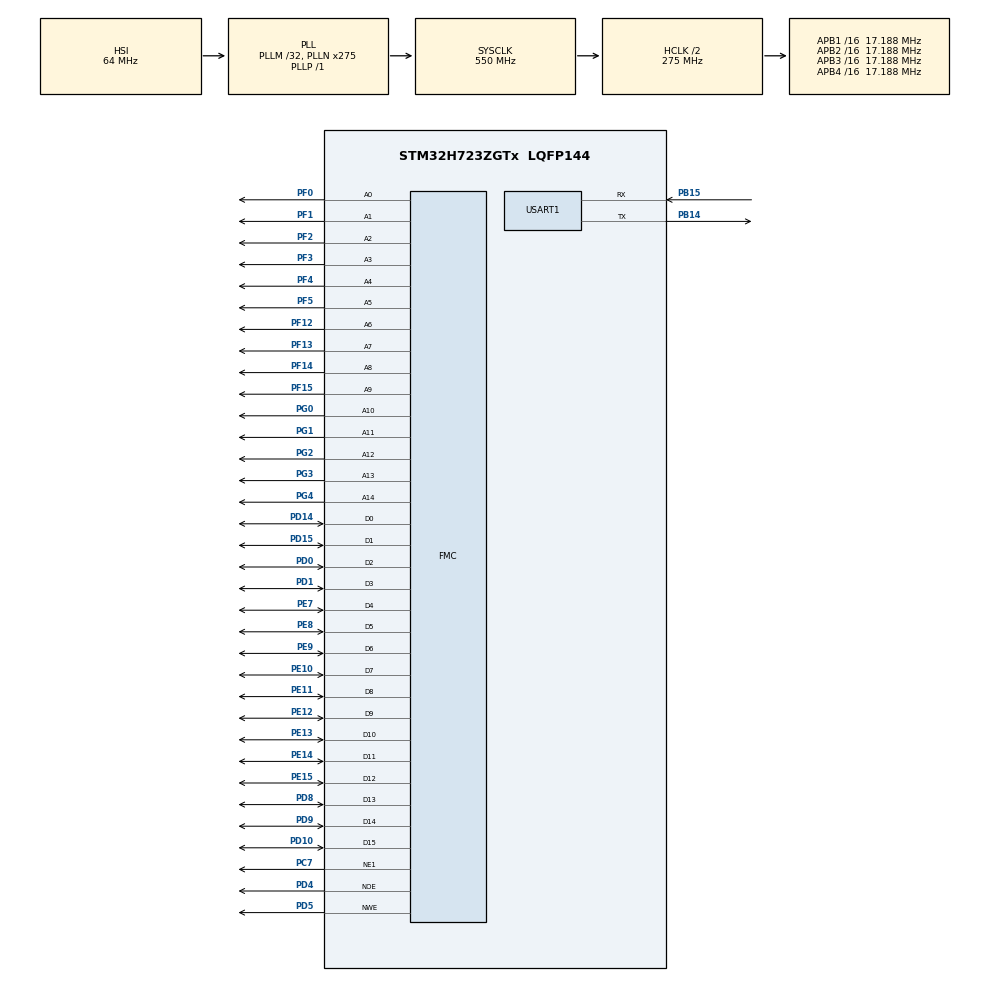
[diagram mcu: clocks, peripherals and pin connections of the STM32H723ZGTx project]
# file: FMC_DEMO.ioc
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CORTEX_M7.AccessPermission_Spec=MPU_REGION_FULL_ACCESS
CORTEX_M7.BaseAddress_Spec=0x60000000
CORTEX_M7.CPU_DCache=Enabled
CORTEX_M7.CPU_ICache=Enabled
CORTEX_M7.MPU_Control=MPU_HFNMI_PRIVDEF
CORTEX_M7.Size_Spec=MPU_REGION_SIZE_256MB
CORTEX_M7.default_mode_Activation=1
FMC.AddressSetupTime1=4
FMC.BusTurnAroundDuration1=2
FMC.DataSetupTime1=3
FMC.WriteFifo1=FMC_WRITE_FIFO_DISABLE
FMC.WriteOperation1=FMC_WRITE_OPERATION_ENABLE
Mcu.Family=STM32H7
Mcu.Name=STM32H723ZGTx
Mcu.Package=LQFP144
NVIC.PriorityGroup=NVIC_PRIORITYGROUP_4
NVIC.USART1_IRQn=true\:0\:0\:false\:false\:true\:true\:true\:true
PB14.Mode=Asynchronous
PB14.Signal=USART1_TX
PB15.Mode=Asynchronous
PB15.Signal=USART1_RX
PC7.Mode=NorPsramChipSelect1_1
PC7.Signal=FMC_NE1
PD0.Signal=FMC_D2_DA2
PD1.Signal=FMC_D3_DA3
PD10.Signal=FMC_D15_DA15
PD14.Signal=FMC_D0_DA0
PD15.Signal=FMC_D1_DA1
PD4.Signal=FMC_NOE
PD5.Signal=FMC_NWE
PD8.Signal=FMC_D13_DA13
PD9.Signal=FMC_D14_DA14
PE10.Signal=FMC_D7_DA7
PE11.Signal=FMC_D8_DA8
PE12.Signal=FMC_D9_DA9
PE13.Signal=FMC_D10_DA10
PE14.Signal=FMC_D11_DA11
PE15.Signal=FMC_D12_DA12
PE7.Signal=FMC_D4_DA4
PE8.Signal=FMC_D5_DA5
PE9.Signal=FMC_D6_DA6
PF0.Signal=FMC_A0
PF1.Signal=FMC_A1
PF12.Signal=FMC_A6
PF13.Signal=FMC_A7
PF14.Signal=FMC_A8
PF15.Signal=FMC_A9
PF2.Signal=FMC_A2
PF3.Signal=FMC_A3
PF4.Signal=FMC_A4
PF5.Signal=FMC_A5
PG0.Signal=FMC_A10
PG1.Signal=FMC_A11
PG2.Signal=FMC_A12
PG3.Signal=FMC_A13
PG4.Signal=FMC_A14_BA0
ProjectManager.HeapSize=0x200
ProjectManager.StackSize=0x400
ProjectManager.TargetToolchain=MDK-ARM V5.32
RCC.ADCFreq_Value=129000000
RCC.APB1Freq_Value=17187500
RCC.APB2Freq_Value=17187500
RCC.APB3Freq_Value=17187500
RCC.APB4Freq_Value=17187500
RCC.CortexFreq_Value=68750000
RCC.Cortex_Div=SYSTICK_CLKSOURCE_HCLK_DIV8
RCC.D1PPRE=RCC_APB3_DIV16
RCC.D2PPRE1=RCC_APB1_DIV16
RCC.D2PPRE2=RCC_APB2_DIV16
RCC.D3PPRE=RCC_APB4_DIV16
RCC.DIVN1=275
RCC.DIVP1=1
RCC.DIVQ1=5
RCC.FMCCLockSelection=RCC_FMCCLKSOURCE_PLL
RCC.HCLKFreq_Value=275000000
RCC.HPRE=RCC_HCLK_DIV2
RCC.PLLFRACN=0
RCC.SYSCLKFreq_VALUE=550000000
RCC.SYSCLKSource=RCC_SYSCLKSOURCE_PLLCLK
RCC.USBFreq_Value=110000000
SH.FMC_A0.0=FMC_A0,15b-a1
SH.FMC_A1.0=FMC_A1,15b-a1
SH.FMC_A10.0=FMC_A10,15b-a1
SH.FMC_A11.0=FMC_A11,15b-a1
SH.FMC_A12.0=FMC_A12,15b-a1
SH.FMC_A13.0=FMC_A13,15b-a1
SH.FMC_A14_BA0.0=FMC_A14,15b-a1
SH.FMC_A2.0=FMC_A2,15b-a1
SH.FMC_A3.0=FMC_A3,15b-a1
SH.FMC_A4.0=FMC_A4,15b-a1
SH.FMC_A5.0=FMC_A5,15b-a1
SH.FMC_A6.0=FMC_A6,15b-a1
SH.FMC_A7.0=FMC_A7,15b-a1
SH.FMC_A8.0=FMC_A8,15b-a1
SH.FMC_A9.0=FMC_A9,15b-a1
SH.FMC_D0_DA0.0=FMC_D0,16b-d1
SH.FMC_D10_DA10.0=FMC_D10,16b-d1
SH.FMC_D11_DA11.0=FMC_D11,16b-d1
SH.FMC_D12_DA12.0=FMC_D12,16b-d1
SH.FMC_D13_DA13.0=FMC_D13,16b-d1
SH.FMC_D14_DA14.0=FMC_D14,16b-d1
SH.FMC_D15_DA15.0=FMC_D15,16b-d1
SH.FMC_D1_DA1.0=FMC_D1,16b-d1
SH.FMC_D2_DA2.0=FMC_D2,16b-d1
SH.FMC_D3_DA3.0=FMC_D3,16b-d1
SH.FMC_D4_DA4.0=FMC_D4,16b-d1
SH.FMC_D5_DA5.0=FMC_D5,16b-d1
SH.FMC_D6_DA6.0=FMC_D6,16b-d1
SH.FMC_D7_DA7.0=FMC_D7,16b-d1
SH.FMC_D8_DA8.0=FMC_D8,16b-d1
SH.FMC_D9_DA9.0=FMC_D9,16b-d1
SH.FMC_NOE.0=FMC_NOE,Sram1
SH.FMC_NWE.0=FMC_NWE,Sram1
USART1.VirtualMode-Asynchronous=VM_ASYNC
VP_MEMORYMAP_VS_MEMORYMAP.Mode=CurAppReg
board=custom

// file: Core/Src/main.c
/* USER CODE BEGIN Header */
/**
  ******************************************************************************
  * @file           : main.c
  * @brief          : Main program body
  ******************************************************************************
  * @attention
  *
  * Copyright (c) 2026 STMicroelectronics.
  * All rights reserved.
  *
  * This software is licensed under terms that can be found in the LICENSE file
  * in the root directory of this software component.
  * If no LICENSE file comes with this software, it is provided AS-IS.
  *
  ******************************************************************************
  */
/* USER CODE END Header */
#include "main.h"
#include "usart.h"
#include "gpio.h"
#include "fmc.h"

/* USER CODE BEGIN Includes */
#include "dds.h"
#include <stdio.h>
#include <string.h>
/* USER CODE END Includes */

void SystemClock_Config(void);
static void MPU_Config(void);

int main(void)
{

  /* MPU Configuration--------------------------------------------------------*/
  MPU_Config();

  /* Enable the CPU Cache */

  /* Enable I-Cache---------------------------------------------------------*/
  SCB_EnableICache();

  /* Enable D-Cache---------------------------------------------------------*/
  SCB_EnableDCache();

  /* MCU Configuration--------------------------------------------------------*/

  /* Reset of all peripherals, Initializes the Flash interface and the Systick. */
  HAL_Init();

  /* Configure the system clock */
  SystemClock_Config();

  /* Initialize all configured peripherals */
  MX_GPIO_Init();
  MX_FMC_Init();
  MX_USART1_UART_Init();
  /* USER CODE BEGIN 2 */

  /* Startup banner (TX only, no interrupt needed) */
  const char *banner =
      "\r\n\r\n"
      "========================================\r\n"
      "  DDS_AD9740  Arbitrary Waveform Gen\r\n"
      "  UART TX: 115200 8N1  (output only)\r\n"
      "========================================\r\n"
			"!!!MPU_InitStruct.SubRegionDisable = 0x00 \r\n";;
  HAL_UART_Transmit(&huart1, (uint8_t *)banner, strlen(banner), 500);

  /*
   * DDS initialization: generates 1024-point sine LUT,
   * writes to FPGA waveform RAM, sets 1 kHz default, enables DAC.
   */
  HAL_UART_Transmit(&huart1, (uint8_t *)"Init DDS...\r\n", 13, 200);
  DDS_Init();

  /*
   * Register dump: read back FPGA control registers and sample waveform RAM
   * to verify FMC communication and DDS configuration.
   */
  {
    char buf[80];
    uint16_t val;
    int i;

    /* --- Control Registers --- */
    HAL_UART_Transmit(&huart1, (uint8_t *)"\r\n--- Control Registers ---\r\n", 27, 200);

    val = FPGA[FTW_ADDR_LO];
    sprintf(buf, "FTW_LO    (0x0400) = 0x%04X (%u)\r\n", val, val);
    HAL_UART_Transmit(&huart1, (uint8_t *)buf, strlen(buf), 100);

    val = FPGA[FTW_ADDR_HI];
    sprintf(buf, "FTW_HI    (0x0401) = 0x%04X (%u)\r\n", val, val);
    HAL_UART_Transmit(&huart1, (uint8_t *)buf, strlen(buf), 100);

    val = FPGA[DAC_CTRL_ADDR];
    sprintf(buf, "DAC_CTRL  (0x040C) = 0x%04X (%s)\r\n", val,
            (val & 0x01) ? "ENABLED" : "DISABLED");
    HAL_UART_Transmit(&huart1, (uint8_t *)buf, strlen(buf), 100);

    /* --- Waveform RAM (first 16 of 1024) --- */
    HAL_UART_Transmit(&huart1, (uint8_t *)"\r\n--- Waveform RAM [0..15] / 1024 ---\r\n", 44, 200);

    for (i = 0; i <1024 ; i = i + 5)
    {
      val = FPGA[WAVEFORM_RAM_BASE + i];
      sprintf(buf, "  RAM : %4u\r\n",  val & 0x03FF);
      HAL_UART_Transmit(&huart1, (uint8_t *)buf, strlen(buf), 100);
			HAL_Delay(1);
    }

    HAL_UART_Transmit(&huart1, (uint8_t *)"--- End of Register Dump ---\r\n\r\n", 31, 200);
  }

  /* USER CODE END 2 */

  /* Infinite loop */
  /* USER CODE BEGIN WHILE */
  while (1)
  {
    /*
     * DDS runs autonomously on FPGA.  STM32 just idles.
     * USART TX is available for debug output via HAL_UART_Transmit().
     * USART RX interrupt is disabled (no HAL_UART_Receive_IT).
     */
    HAL_Delay(1000);

    /* USER CODE END WHILE */

  }
}

void SystemClock_Config(void)
{
  RCC_OscInitTypeDef RCC_OscInitStruct = {0};
  RCC_ClkInitTypeDef RCC_ClkInitStruct = {0};

  /** Supply configuration update enable
  */
  HAL_PWREx_ConfigSupply(PWR_LDO_SUPPLY);

  /** Configure the main internal regulator output voltage
  */
  __HAL_PWR_VOLTAGESCALING_CONFIG(PWR_REGULATOR_VOLTAGE_SCALE0);

  while(!__HAL_PWR_GET_FLAG(PWR_FLAG_VOSRDY)) {}

  /** Initializes the RCC Oscillators according to the specified parameters
  * in the RCC_OscInitTypeDef structure.
  */
  RCC_OscInitStruct.OscillatorType = RCC_OSCILLATORTYPE_HSI;
  RCC_OscInitStruct.HSIState = RCC_HSI_DIV1;
  RCC_OscInitStruct.HSICalibrationValue = 64;
  RCC_OscInitStruct.PLL.PLLState = RCC_PLL_ON;
  RCC_OscInitStruct.PLL.PLLSource = RCC_PLLSOURCE_HSI;
  RCC_OscInitStruct.PLL.PLLM = 32;
  RCC_OscInitStruct.PLL.PLLN = 275;
  RCC_OscInitStruct.PLL.PLLP = 1;
  RCC_OscInitStruct.PLL.PLLQ = 5;
  RCC_OscInitStruct.PLL.PLLR = 2;
  RCC_OscInitStruct.PLL.PLLRGE = RCC_PLL1VCIRANGE_1;
  RCC_OscInitStruct.PLL.PLLVCOSEL = RCC_PLL1VCOWIDE;
  RCC_OscInitStruct.PLL.PLLFRACN = 0;
  if (HAL_RCC_OscConfig(&RCC_OscInitStruct) != HAL_OK)
  {
    Error_Handler();
  }

  /** Initializes the CPU, AHB and APB buses clocks
  */
  RCC_ClkInitStruct.ClockType = RCC_CLOCKTYPE_HCLK|RCC_CLOCKTYPE_SYSCLK
                              |RCC_CLOCKTYPE_PCLK1|RCC_CLOCKTYPE_PCLK2
                              |RCC_CLOCKTYPE_D3PCLK1|RCC_CLOCKTYPE_D1PCLK1;
  RCC_ClkInitStruct.SYSCLKSource = RCC_SYSCLKSOURCE_PLLCLK;
  RCC_ClkInitStruct.SYSCLKDivider = RCC_SYSCLK_DIV1;
  RCC_ClkInitStruct.AHBCLKDivider = RCC_HCLK_DIV2;
  RCC_ClkInitStruct.APB3CLKDivider = RCC_APB3_DIV16;
  RCC_ClkInitStruct.APB1CLKDivider = RCC_APB1_DIV16;
  RCC_ClkInitStruct.APB2CLKDivider = RCC_APB2_DIV16;
  RCC_ClkInitStruct.APB4CLKDivider = RCC_APB4_DIV16;

  if (HAL_RCC_ClockConfig(&RCC_ClkInitStruct, FLASH_LATENCY_3) != HAL_OK)
  {
    Error_Handler();
  }
}

 /* MPU Configuration */

void MPU_Config(void)
{
  MPU_Region_InitTypeDef MPU_InitStruct = {0};

  /* Disables the MPU */
  HAL_MPU_Disable();

  /** Initializes and configures the Region and the memory to be protected
  */
  MPU_InitStruct.Enable = MPU_REGION_ENABLE;
  MPU_InitStruct.Number = MPU_REGION_NUMBER0;
  MPU_InitStruct.BaseAddress = 0x60000000;
  MPU_InitStruct.Size = MPU_REGION_SIZE_256MB;
  MPU_InitStruct.SubRegionDisable = 0x00;
  MPU_InitStruct.TypeExtField = MPU_TEX_LEVEL0;
  MPU_InitStruct.AccessPermission = MPU_REGION_FULL_ACCESS;
  MPU_InitStruct.DisableExec = MPU_INSTRUCTION_ACCESS_DISABLE;
  MPU_InitStruct.IsShareable = MPU_ACCESS_SHAREABLE;
  MPU_InitStruct.IsCacheable = MPU_ACCESS_NOT_CACHEABLE;
  MPU_InitStruct.IsBufferable = MPU_ACCESS_NOT_BUFFERABLE;

  HAL_MPU_ConfigRegion(&MPU_InitStruct);
  /* Enables the MPU */
  HAL_MPU_Enable(MPU_HFNMI_PRIVDEF);

}

void Error_Handler(void)
{
  __disable_irq();
  while (1)
  {
  }
}
